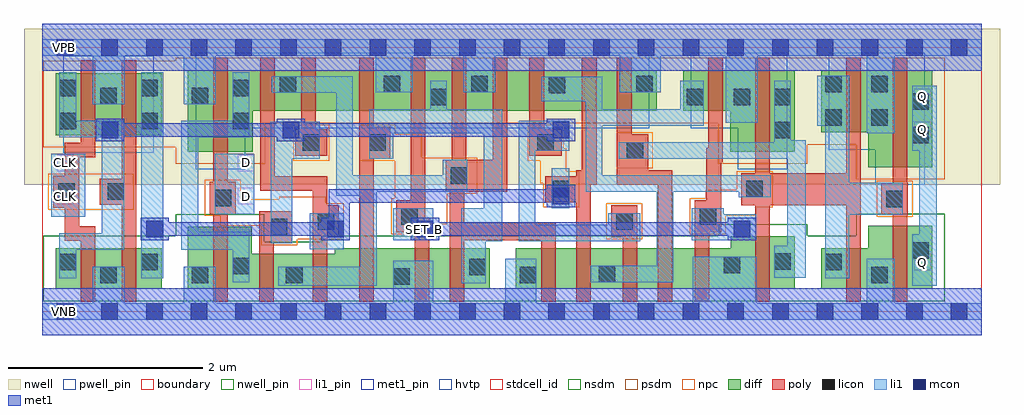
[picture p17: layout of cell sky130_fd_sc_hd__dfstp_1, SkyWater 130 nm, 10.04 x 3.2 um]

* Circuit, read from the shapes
.subckt sky130_fd_sc_hd__dfstp_1 CLK D Q SET_B VGND VNB VPB VPWR
XM1 VGND CLK n1 VNB sky130_fd_pr__nfet_01v8 w=0.42 l=0.15
XM2 n2 n1 VGND VNB sky130_fd_pr__nfet_01v8 w=0.42 l=0.15
XM3 n3 D VGND VNB sky130_fd_pr__nfet_01v8 w=0.64 l=0.15
XM4 n4 n1 n3 VNB sky130_fd_pr__nfet_01v8 w=0.36 l=0.15
XM5 n5 n2 n4 VNB sky130_fd_pr__nfet_01v8 w=0.36 l=0.15
XM6 VGND n6 n5 VNB sky130_fd_pr__nfet_01v8 w=0.42 l=0.15
XM7 n7 SET_B VGND VNB sky130_fd_pr__nfet_01v8 w=0.42 l=0.15
XM8 n6 n4 n7 VNB sky130_fd_pr__nfet_01v8 w=0.42 l=0.15
XM9 n8 n4 VGND VNB sky130_fd_pr__nfet_01v8 w=0.42 l=0.15
XM10 n9 n2 n8 VNB sky130_fd_pr__nfet_01v8 w=0.42 l=0.15
XM11 n10 n1 n9 VNB sky130_fd_pr__nfet_01v8 w=0.42 l=0.15
XM12 n11 n12 n10 VNB sky130_fd_pr__nfet_01v8 w=0.42 l=0.15
XM13 VGND SET_B n11 VNB sky130_fd_pr__nfet_01v8 w=0.42 l=0.15
XM14 n12 n9 VGND VNB sky130_fd_pr__nfet_01v8 w=0.54 l=0.15
XM15 VGND n9 n13 VNB sky130_fd_pr__nfet_01v8 w=0.42 l=0.15
XM16 Q n13 VGND VNB sky130_fd_pr__nfet_01v8 w=0.65 l=0.15
XM17 VPWR CLK n1 VPB sky130_fd_pr__pfet_01v8_hvt w=0.64 l=0.15
XM18 n2 n1 VPWR VPB sky130_fd_pr__pfet_01v8_hvt w=0.64 l=0.15
XM19 n3 D VPWR VPB sky130_fd_pr__pfet_01v8_hvt w=0.84 l=0.15
XM20 n4 n2 n3 VPB sky130_fd_pr__pfet_01v8_hvt w=0.42 l=0.15
XM21 n14 n1 n4 VPB sky130_fd_pr__pfet_01v8_hvt w=0.42 l=0.15
XM22 VPWR n6 n14 VPB sky130_fd_pr__pfet_01v8_hvt w=0.42 l=0.15
XM23 n6 SET_B VPWR VPB sky130_fd_pr__pfet_01v8_hvt w=0.42 l=0.15
XM24 VPWR n4 n6 VPB sky130_fd_pr__pfet_01v8_hvt w=0.42 l=0.15
XM25 n15 n4 VPWR VPB sky130_fd_pr__pfet_01v8_hvt w=0.42 l=0.15
XM26 n9 n1 n15 VPB sky130_fd_pr__pfet_01v8_hvt w=0.42 l=0.15
XM27 n16 n2 n9 VPB sky130_fd_pr__pfet_01v8_hvt w=0.42 l=0.15
XM28 VPWR n12 n16 VPB sky130_fd_pr__pfet_01v8_hvt w=0.42 l=0.15
XM29 VPWR SET_B n9 VPB sky130_fd_pr__pfet_01v8_hvt w=0.42 l=0.15
XM30 n12 n9 VPWR VPB sky130_fd_pr__pfet_01v8_hvt w=0.84 l=0.15
XM31 VPWR n9 n13 VPB sky130_fd_pr__pfet_01v8_hvt w=0.64 l=0.15
XM32 Q n13 VPWR VPB sky130_fd_pr__pfet_01v8_hvt w=1 l=0.15
.ends

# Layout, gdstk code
import gdstk
lib = gdstk.Library(unit=1e-6, precision=1e-09)
def R(c, l, rs):  # rectangles x0, y0, x1, y1
    for r in rs: c.add(gdstk.rectangle(r[:2], r[2:], *l))
def A(c, l, x, y, w, h, nx, ny, dx, dy):  # array of equal rectangles
    R(c, l, [(x+i*dx, y+j*dy, x+i*dx+w, y+j*dy+h) for i in range(nx) for j in range(ny)])
nwell_pin = (64, 16)
nwell = (64, 20)
diff = (65, 20)
poly = (66, 20)
licon = (66, 44)
li1_pin = (67, 16)
li1 = (67, 20)
mcon = (67, 44)
met1_pin = (68, 16)
met1 = (68, 20)
hvtp = (78, 44)
stdcell_id = (81, 4)
nsdm = (93, 44)
psdm = (94, 20)
npc = (95, 20)
pwell_pin = (122, 16)
boundary = (235, 4)

sky130_fd_sc_hd__dfstp_1 = lib.new_cell('sky130_fd_sc_hd__dfstp_1')
R(sky130_fd_sc_hd__dfstp_1, nwell_pin, [(0.145,2.635,0.315,2.805)])
R(sky130_fd_sc_hd__dfstp_1, nwell, [(-0.19,1.305,9.85,2.91)])
R(sky130_fd_sc_hd__dfstp_1, diff, [(0.135,0.235,1.225,0.655), (1.495,0.235,4.6,0.595), (4.87,0.235,7.74,0.655), (8.01,0.235,9.155,0.655), (1.495,0.595,2.155,0.875), (3.005,0.595,4.6,0.655), (7.08,0.655,7.74,0.775), (8.495,0.655,9.155,0.885), (8.495,1.485,9.155,1.845), (1.495,1.645,2.165,2.065), (7.075,1.645,7.74,2.065), (0.135,1.815,1.225,2.455), (8.01,1.845,9.155,2.485), (1.495,2.065,6.32,2.485), (6.59,2.065,7.74,2.485)])
R(sky130_fd_sc_hd__dfstp_1, poly, [(0.395,0.105,0.545,0.73), (0.815,0.105,0.965,1.1), (1.755,0.105,1.905,1.005), (2.23,0.105,2.38,0.705), (2.78,0.105,2.93,0.765), (3.26,0.105,3.41,1.575), (3.83,0.105,3.98,0.815), (4.19,0.105,4.34,0.735), (5.13,0.105,5.28,0.735), (5.49,0.105,5.64,1.125), (5.97,0.105,6.12,0.765), (6.33,0.105,6.48,1.305), (6.71,0.105,6.86,0.815), (7.33,0.105,7.48,1.095), (8.27,0.105,8.42,1.095), (8.745,0.105,8.895,0.995), (2.23,0.705,2.57,1.035), (0.23,0.73,0.545,0.88), (4.19,0.735,5.28,0.915), (2.78,0.765,3.05,1.095), (5.85,0.765,6.12,1.095), (3.64,0.815,3.98,0.965), (6.71,0.815,6.98,1.145), (0.23,0.88,0.38,1.07), (4.19,0.915,4.34,1.235), (3.64,0.965,3.94,1.145), (8.63,0.995,8.9,1.325), (1.72,1.005,1.99,1.335), (0.11,1.07,0.38,1.4), (2.78,1.095,2.93,1.245), (7.19,1.095,8.42,1.425), (0.59,1.1,0.965,1.37), (5.17,1.125,5.64,1.305), (3.79,1.145,3.94,2.615), (6.83,1.145,6.98,1.535), (4.15,1.235,4.78,1.565), (2.24,1.245,2.93,1.395), (5.17,1.305,5.7,1.395), (5.91,1.305,6.48,1.455), (8.745,1.325,8.895,2.615), (1.755,1.335,1.905,2.615), (0.815,1.37,0.965,2.585), (2.24,1.395,2.39,2.615), (5.49,1.395,5.7,1.455), (0.23,1.4,0.38,1.59), (7.33,1.425,7.48,2.615), (8.27,1.425,8.42,2.615), (5.55,1.455,5.7,2.615), (5.91,1.455,6.23,1.825), (6.83,1.535,7,1.685), (4.21,1.565,4.36,2.615), (4.63,1.565,4.78,2.615), (3.26,1.575,3.58,1.905), (0.23,1.59,0.545,1.74), (2.6,1.605,2.93,1.875), (5.01,1.605,5.34,1.875), (6.85,1.685,7,2.615), (0.395,1.74,0.545,2.585), (5.91,1.825,6.06,2.615), (2.66,1.875,2.81,2.615), (5.01,1.875,5.16,2.615), (3.26,1.905,3.41,2.615)])
R(sky130_fd_sc_hd__dfstp_1, licon, [(3.61,0.275,3.78,0.445), (0.595,0.295,0.765,0.465), (1.535,0.295,1.705,0.465), (2.505,0.295,2.675,0.465), (4.91,0.295,5.08,0.465), (8.525,0.295,8.695,0.465), (5.72,0.305,5.89,0.475), (4.39,0.375,4.56,0.545), (1.955,0.385,2.125,0.555), (7.01,0.395,7.18,0.565), (0.175,0.425,0.345,0.595), (1.015,0.425,1.185,0.595), (8.05,0.425,8.22,0.595), (7.53,0.43,7.7,0.6), (8.945,0.545,9.115,0.715), (2.35,0.785,2.52,0.955), (2.83,0.845,3,1.015), (5.9,0.845,6.07,1.015), (3.69,0.895,3.86,1.065), (6.76,0.895,6.93,1.065), (8.68,1.075,8.85,1.245), (1.77,1.085,1.94,1.255), (0.16,1.15,0.33,1.32), (0.67,1.15,0.84,1.32), (5.25,1.175,5.42,1.345), (7.24,1.175,7.41,1.345), (4.2,1.315,4.37,1.485), (6.01,1.575,6.18,1.745), (2.68,1.655,2.85,1.825), (3.36,1.655,3.53,1.825), (5.09,1.655,5.26,1.825), (8.945,1.735,9.115,1.905), (7.53,1.785,7.7,1.955), (0.175,1.875,0.345,2.045), (1.015,1.875,1.185,2.045), (1.955,1.875,2.125,2.045), (8.05,1.915,8.22,2.085), (8.525,1.915,8.695,2.085), (8.945,2.075,9.115,2.245), (3.99,2.125,4.16,2.295), (6.63,2.125,6.8,2.295), (7.11,2.125,7.28,2.295), (7.53,2.125,7.7,2.295), (0.595,2.135,0.765,2.305), (1.535,2.135,1.705,2.305), (0.175,2.215,0.345,2.385), (1.015,2.215,1.185,2.385), (1.955,2.215,2.125,2.385), (5.21,2.245,5.38,2.415), (2.44,2.25,2.61,2.42), (3.51,2.255,3.68,2.425), (4.41,2.255,4.58,2.425), (6.11,2.255,6.28,2.425), (8.05,2.255,8.22,2.425), (8.525,2.255,8.695,2.425)])
R(sky130_fd_sc_hd__dfstp_1, li1_pin, [(0.145,-0.085,0.315,0.085), (8.97,0.425,9.14,0.595), (3.85,0.765,4.02,0.935), (0.15,1.105,0.32,1.275), (2.01,1.105,2.18,1.275), (0.15,1.445,0.32,1.615), (2.01,1.445,2.18,1.615), (8.97,1.785,9.14,1.955), (8.97,2.125,9.14,2.295), (0.145,2.635,0.315,2.805)])
R(sky130_fd_sc_hd__dfstp_1, li1, [(0,-0.085,9.66,0.085), (0.515,0.085,0.845,0.465), (1.455,0.085,1.785,0.465), (3.61,0.085,4.02,0.525), (4.76,0.085,5.08,0.545), (6.69,0.085,7.35,0.565), (8.48,0.085,8.765,0.545), (2.425,0.265,3.44,0.465), (8.945,0.265,9.2,0.795), (4.31,0.295,4.56,0.725), (1.955,0.305,2.125,0.635), (5.64,0.305,6.49,0.475), (0.175,0.345,0.345,0.635), (1.015,0.345,1.24,2.465), (8.05,0.345,8.3,0.995), (7.53,0.35,7.85,0.68), (3.27,0.465,3.44,1.195), (6.32,0.475,6.49,1.235), (0.175,0.635,0.84,0.805), (1.43,0.635,2.125,0.825), (2.75,0.645,3.1,1.015), (7.66,0.68,7.85,1.575), (2.35,0.705,2.57,1.575), (4.31,0.725,4.73,1.065), (4.9,0.725,6.15,0.895), (3.61,0.735,4.02,1.065), (6.68,0.735,7.34,1.005), (9.02,0.795,9.2,1.655), (0.61,0.805,0.84,1.795), (1.43,0.825,1.6,1.795), (4.9,0.895,5.07,1.655), (5.82,0.895,6.15,1.015), (0.09,0.975,0.44,1.625), (8.05,0.995,8.85,1.325), (1.77,1.005,2.18,1.625), (6.68,1.005,7.01,1.065), (4.54,1.065,4.73,1.835), (5.24,1.065,5.42,1.475), (7.16,1.175,7.49,1.235), (3.02,1.195,3.44,1.235), (3.02,1.235,4.37,1.405), (5.59,1.235,7.49,1.405), (8.05,1.325,8.3,1.915), (3.02,1.405,3.19,2.25), (4.12,1.405,4.37,1.565), (5.59,1.405,5.76,1.915), (2.35,1.575,2.85,1.955), (3.36,1.575,3.61,1.835), (5.93,1.575,7.85,1.745), (4.9,1.655,5.42,1.965), (8.945,1.655,9.2,2.325), (7.53,1.745,7.85,1.765), (7.53,1.765,7.7,2.375), (0.175,1.795,0.84,1.965), (1.43,1.795,2.125,1.965), (3.36,1.835,4.73,2.085), (8.48,1.835,8.765,2.635), (5.59,1.915,6.8,2.085), (7.97,1.915,8.3,2.425), (7.03,1.945,7.36,2.635), (0.175,1.965,0.345,2.465), (1.955,1.965,2.125,2.465), (3.99,2.085,4.16,2.375), (5.59,2.085,5.76,2.165), (6.56,2.085,6.8,2.375), (0.515,2.135,0.845,2.635), (1.455,2.135,1.785,2.635), (5.13,2.165,5.76,2.415), (2.36,2.25,3.19,2.42), (3.43,2.255,3.81,2.635), (4.33,2.255,4.66,2.635), (5.94,2.255,6.36,2.635), (0,2.635,9.66,2.805)])
A(sky130_fd_sc_hd__dfstp_1, mcon, 0.145, -0.085, 0.17, 0.17, 21, 2, 0.46, 2.72)
R(sky130_fd_sc_hd__dfstp_1, mcon, [(1.07,0.765,1.24,0.935), (2.93,0.765,3.1,0.935), (3.85,0.765,4.02,0.935), (7.11,0.765,7.28,0.935), (5.25,1.105,5.42,1.275), (0.61,1.785,0.78,1.955), (2.47,1.785,2.64,1.955), (5.25,1.785,5.42,1.955)])
R(sky130_fd_sc_hd__dfstp_1, met1_pin, [(0.145,-0.085,0.315,0.085), (0.145,2.635,0.315,2.805)])
R(sky130_fd_sc_hd__dfstp_1, met1, [(0,-0.24,9.66,0.24), (1.01,0.735,1.3,0.78), (2.87,0.735,3.16,0.78), (3.79,0.735,4.08,0.78), (7.05,0.735,7.34,0.78), (1.01,0.78,3.16,0.92), (3.79,0.78,7.34,0.92), (1.01,0.92,1.3,0.965), (2.87,0.92,3.16,0.965), (3.79,0.92,4.08,0.965), (7.05,0.92,7.34,0.965), (2.945,0.965,3.16,1.12), (5.19,1.075,5.48,1.12), (2.945,1.12,5.48,1.26), (5.19,1.26,5.48,1.305), (0.55,1.755,0.84,1.8), (2.41,1.755,2.7,1.8), (5.19,1.755,5.48,1.8), (0.55,1.8,5.48,1.94), (0.55,1.94,0.84,1.985), (2.41,1.94,2.7,1.985), (5.19,1.94,5.48,1.985), (0,2.48,9.66,2.96)])
R(sky130_fd_sc_hd__dfstp_1, hvtp, [(8.565,1.305,9.075,1.665), (1.575,1.465,2.085,1.885), (7.15,1.465,7.66,1.885), (0.215,1.635,1.145,2.635), (8.09,1.665,9.075,2.665), (1.575,1.885,6.24,2.665), (6.67,1.885,7.66,2.665)])
R(sky130_fd_sc_hd__dfstp_1, stdcell_id, [(0,0,9.66,2.72)])
R(sky130_fd_sc_hd__dfstp_1, nsdm, [(0.01,0.11,9.28,0.72), (0.01,0.72,2.28,0.78), (2.88,0.72,9.28,0.78), (1.37,0.78,2.28,1), (6.955,0.78,7.865,0.9), (8.37,0.78,9.28,1.01)])
R(sky130_fd_sc_hd__dfstp_1, psdm, [(8.37,1.36,9.28,1.72), (1.37,1.52,2.29,1.69), (6.95,1.52,7.865,1.72), (0.01,1.69,2.29,1.94), (6.95,1.72,9.28,1.94), (0.01,1.94,9.28,2.58), (1.37,2.58,9.28,2.61)])
R(sky130_fd_sc_hd__dfstp_1, npc, [(2.25,0.685,2.62,0.745), (2.25,0.745,3.1,0.885), (5.8,0.745,6.17,1.115), (3.59,0.795,3.96,0.9), (6.66,0.795,7.03,0.985), (1.83,0.885,3.1,0.985), (3.59,0.9,4.165,1.165), (8.58,0.975,8.95,1.345), (1.67,0.985,3.1,1.115), (6.66,0.985,7.345,1.075), (0.06,1.05,0.94,1.42), (5.15,1.075,5.52,1.32), (6.66,1.075,7.51,1.165), (1.67,1.115,2.915,1.155), (1.67,1.155,2.04,1.355), (2.435,1.155,2.915,1.185), (3.625,1.165,4.165,1.215), (6.825,1.165,7.51,1.255), (3.625,1.215,4.47,1.555), (7.14,1.255,7.51,1.445), (5.12,1.32,5.52,1.445), (5.12,1.445,5.39,1.555), (5.91,1.475,6.28,1.845), (2.58,1.555,2.95,1.925), (3.26,1.555,4.47,1.585), (4.99,1.555,5.39,1.68), (3.26,1.585,3.9,1.825), (4.99,1.68,5.36,1.925), (3.26,1.825,3.63,1.925)])
R(sky130_fd_sc_hd__dfstp_1, pwell_pin, [(0.145,-0.085,0.315,0.085)])
R(sky130_fd_sc_hd__dfstp_1, boundary, [(0,0,9.66,2.72)])
sky130_fd_sc_hd__dfstp_1.add(gdstk.Label('VPB', (0.23,2.72), layer=64, texttype=5))
sky130_fd_sc_hd__dfstp_1.add(gdstk.Label('VNB', (0.23,0), layer=64, texttype=59))
sky130_fd_sc_hd__dfstp_1.add(gdstk.Label('VPB', (0.23,2.72), layer=64, texttype=5))
sky130_fd_sc_hd__dfstp_1.add(gdstk.Label('VNB', (0.23,0), layer=64, texttype=59))
sky130_fd_sc_hd__dfstp_1.add(gdstk.Label('VPWR', (0.23,2.72), layer=68, texttype=5))
sky130_fd_sc_hd__dfstp_1.add(gdstk.Label('VPWR', (0.23,2.72), layer=67, texttype=5))
sky130_fd_sc_hd__dfstp_1.add(gdstk.Label('VGND', (0.23,0), layer=68, texttype=5))
sky130_fd_sc_hd__dfstp_1.add(gdstk.Label('VGND', (0.23,0), layer=67, texttype=5))
sky130_fd_sc_hd__dfstp_1.add(gdstk.Label('Q', (9.055,0.51), layer=67, texttype=5))
sky130_fd_sc_hd__dfstp_1.add(gdstk.Label('Q', (9.055,1.87), layer=67, texttype=5))
sky130_fd_sc_hd__dfstp_1.add(gdstk.Label('Q', (9.055,2.21), layer=67, texttype=5))
sky130_fd_sc_hd__dfstp_1.add(gdstk.Label('SET_B', (3.935,0.85), layer=67, texttype=5))
sky130_fd_sc_hd__dfstp_1.add(gdstk.Label('D', (2.095,1.19), layer=67, texttype=5))
sky130_fd_sc_hd__dfstp_1.add(gdstk.Label('D', (2.095,1.53), layer=67, texttype=5))
sky130_fd_sc_hd__dfstp_1.add(gdstk.Label('CLK', (0.235,1.19), layer=67, texttype=5))
sky130_fd_sc_hd__dfstp_1.add(gdstk.Label('CLK', (0.235,1.53), layer=67, texttype=5))

lib.write_gds('sky130_fd_sc_hd__dfstp_1.gds')
